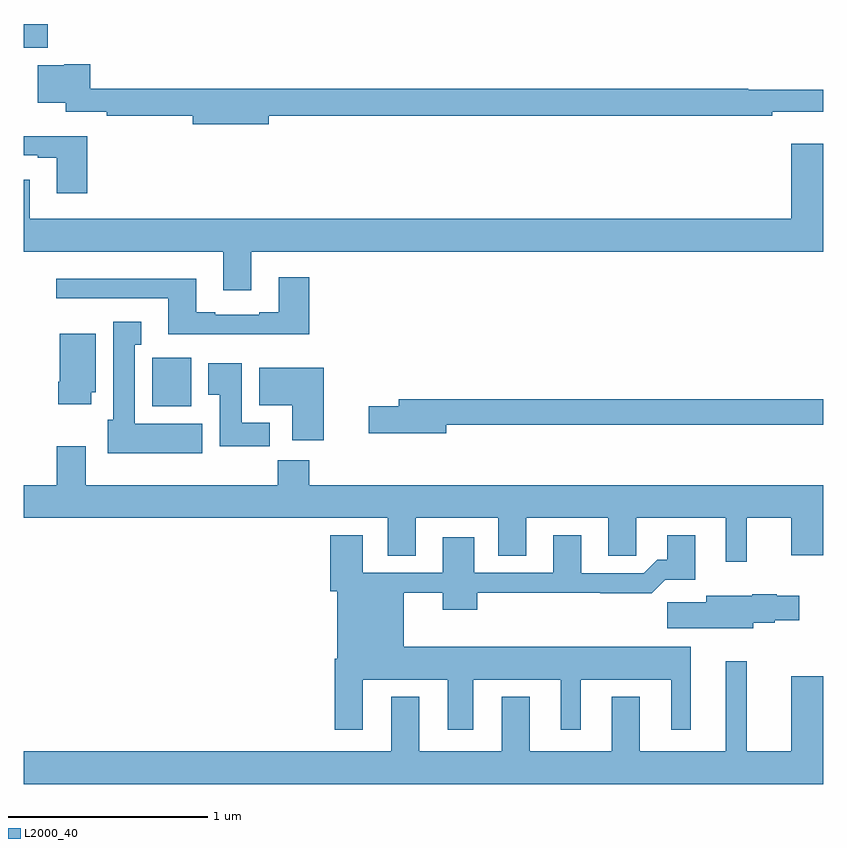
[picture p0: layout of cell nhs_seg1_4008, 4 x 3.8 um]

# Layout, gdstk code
import gdstk
lib = gdstk.Library(unit=1e-6, precision=1e-09)
def R(c, l, rs):  # rectangles x0, y0, x1, y1
    for r in rs: c.add(gdstk.rectangle(r[:2], r[2:], *l))
def P(c, l, *ps):  # polygons
    for p in ps: c.add(gdstk.Polygon(p, *l))
L2000_40 = (2000, 40)

nhs_seg1_4008 = lib.new_cell('nhs_seg1_4008')
R(nhs_seg1_4008, L2000_40, [(329.642,556.286,329.839,556.528), (329,558.08,329.12,558.199)])
P(nhs_seg1_4008, L2000_40, [(330.226,557.74),(332.744,557.74),(332.744,557.759),(333,557.759),(333,557.869),(332.626,557.869),(332.626,557.876),(329.333,557.876),(329.333,557.998),(329.202,557.998),(329.202,557.992),(329.069,557.992),(329.069,557.804),(329.21,557.804),(329.21,557.76),(329.416,557.76),(329.416,557.74),(329.846,557.74),(329.846,557.698),(330.226,557.698)],
  [(329.318,557.638),(329,557.638),(329,557.541),(329.069,557.541),(329.069,557.529),(329.165,557.529),(329.165,557.352),(329.318,557.352)],
  [(330.139,557.06),(333,557.06),(333,557.599),(332.84,557.599),(332.84,557.224),(329.029,557.224),(329.029,557.419),(329,557.419),(329,557.06),(329.999,557.06),(329.999,556.866),(330.139,556.866)],
  [(330.428,556.933),(330.275,556.933),(330.275,556.756),(330.179,556.756),(330.179,556.743),(329.959,556.743),(329.959,556.756),(329.863,556.756),(329.863,556.924),(329.163,556.924),(329.163,556.827),(329.723,556.827),(329.723,556.646),(330.428,556.646)],
  [(329.893,556.198),(329.554,556.198),(329.554,556.595),(329.587,556.595),(329.587,556.708),(329.447,556.708),(329.447,556.218),(329.42,556.218),(329.42,556.052),(329.893,556.052)],
  [(329.338,556.356),(329.359,556.356),(329.359,556.648),(329.18,556.648),(329.18,556.408),(329.173,556.408),(329.173,556.296),(329.338,556.296)],
  [(330.23,556.204),(330.091,556.204),(330.091,556.501),(329.924,556.501),(329.924,556.345),(329.981,556.345),(329.981,556.086),(330.23,556.086)],
  [(330.502,556.48),(330.179,556.48),(330.179,556.292),(330.344,556.292),(330.344,556.116),(330.502,556.116)],
  [(331.114,556.194),(333,556.194),(333,556.322),(330.875,556.322),(330.875,556.286),(330.726,556.286),(330.726,556.151),(331.114,556.151)],
  [(332.617,555.728),(332.84,555.728),(332.84,555.54),(333,555.54),(333,555.892),(330.428,555.892),(330.428,556.016),(330.271,556.016),(330.271,555.892),(329.311,555.892),(329.311,556.087),(329.164,556.087),(329.164,555.892),(329,555.892),(329,555.728),(330.821,555.728),(330.821,555.538),(330.961,555.538),(330.961,555.728),(331.373,555.728),(331.373,555.538),(331.513,555.538),(331.513,555.728),(331.925,555.728),(331.925,555.538),(332.064,555.538),(332.064,555.728),(332.513,555.728),(332.513,555.507),(332.617,555.507)],
  [(330.697,554.918),(331.121,554.918),(331.121,554.667),(331.249,554.667),(331.249,554.918),(331.688,554.918),(331.688,554.667),(331.786,554.667),(331.786,554.918),(332.24,554.918),(332.24,554.667),(332.338,554.667),(332.338,555.082),(330.901,555.082),(330.901,555.352),(331.097,555.352),(331.097,555.269),(331.268,555.269),(331.268,555.352),(331.885,555.352),(331.885,555.35),(332.141,555.35),(332.21,555.419),(332.359,555.419),(332.359,555.64),(332.219,555.64),(332.219,555.517),(332.17,555.517),(332.103,555.45),(331.789,555.45),(331.789,555.64),(331.649,555.64),(331.649,555.453),(331.255,555.453),(331.255,555.631),(331.097,555.631),(331.097,555.453),(330.697,555.453),(330.697,555.64),(330.533,555.64),(330.533,555.36),(330.569,555.36),(330.569,555.022),(330.557,555.022),(330.557,554.667),(330.697,554.667)],
  [(332.65,555.203),(332.757,555.203),(332.757,555.215),(332.881,555.215),(332.881,555.337),(332.768,555.337),(332.768,555.345),(332.646,555.345),(332.646,555.337),(332.414,555.337),(332.414,555.305),(332.22,555.305),(332.22,555.176),(332.65,555.176)],
  [(333,554.935),(332.84,554.935),(332.84,554.56),(332.617,554.56),(332.617,555.01),(332.513,555.01),(332.513,554.56),(332.083,554.56),(332.083,554.833),(331.943,554.833),(331.943,554.56),(331.531,554.56),(331.531,554.833),(331.391,554.833),(331.391,554.56),(330.979,554.56),(330.979,554.833),(330.839,554.833),(330.839,554.56),(329,554.56),(329,554.396),(333,554.396)])

lib.write_gds('nhs_seg1_4008.gds')
